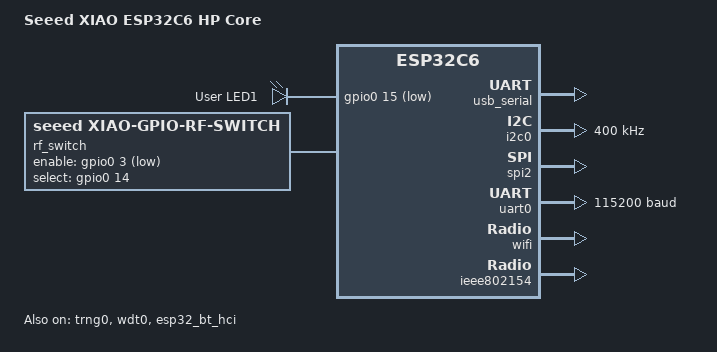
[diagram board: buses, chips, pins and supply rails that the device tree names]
/*
 * Copyright (c) 2024 Mario Paja
 *
 * SPDX-License-Identifier: Apache-2.0
 */

/dts-v1/;

#include <espressif/esp32c6/esp32c6_wroom_n4.dtsi>
#include "xiao_esp32c6-pinctrl.dtsi"
#include <zephyr/dt-bindings/input/input-event-codes.h>
#include <espressif/partitions_0x0_default.dtsi>
#include "seeed_xiao_connector.dtsi"

/ {
	model = "Seeed XIAO ESP32C6 HP Core";
	compatible = "seeed,xiao-esp32c6";

	chosen {
		zephyr,sram = &sramhp;
		zephyr,console = &usb_serial;
		zephyr,shell-uart = &usb_serial;
		zephyr,flash = &flash0;
		zephyr,code-partition = &slot0_partition;
		zephyr,ieee802154 = &ieee802154;
	};

	leds: leds {
		compatible = "gpio-leds";

		yellow_led: led_0 {
			gpios = <&gpio0 15 GPIO_ACTIVE_LOW>;
			label = "User LED1";
		};
	};

	aliases {
		led0 = &yellow_led;
		watchdog0 = &wdt0;
	};

	rf_switch: rf_switch {
		compatible = "seeed,xiao-gpio-rf-switch";
		enable-gpios = <&gpio0 3 GPIO_ACTIVE_LOW>;
		select-gpios = <&gpio0 14 GPIO_ACTIVE_HIGH>;
	};
};

&trng0 {
	status = "okay";
};

&gpio0 {
	status = "okay";
};

&wdt0 {
	status = "okay";
};

&usb_serial {
	status = "okay";
};

&i2c0 {
	status = "okay";
	clock-frequency = <I2C_BITRATE_FAST>;
	pinctrl-0 = <&i2c0_default>;
	pinctrl-names = "default";
};

&spi2 {
	#address-cells = <1>;
	#size-cells = <0>;
	status = "okay";
	pinctrl-0 = <&spim2_default>;
	pinctrl-names = "default";
};

&uart0 {
	status = "okay";
	current-speed = <115200>;
	pinctrl-0 = <&uart0_default>;
	pinctrl-names = "default";
};

&wifi {
	status = "okay";
};

&ieee802154 {
	status = "okay";
};

&esp32_bt_hci {
	status = "okay";
};
